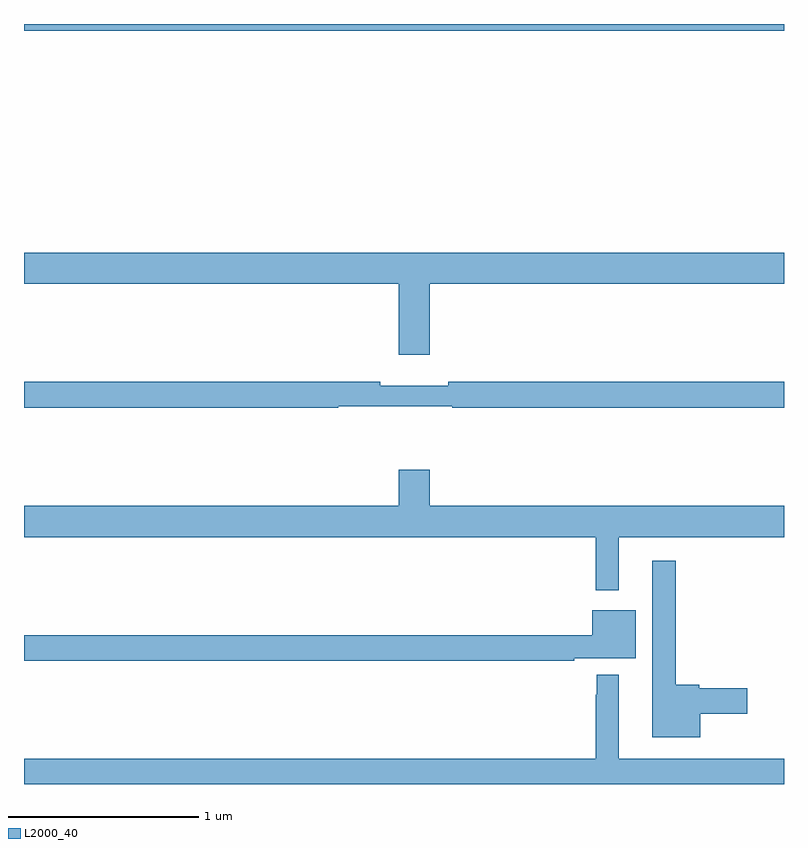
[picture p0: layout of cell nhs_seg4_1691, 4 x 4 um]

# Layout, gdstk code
import gdstk
lib = gdstk.Library(unit=1e-6, precision=1e-09)
def R(c, l, rs):  # rectangles x0, y0, x1, y1
    for r in rs: c.add(gdstk.rectangle(r[:2], r[2:], *l))
def P(c, l, *ps):  # polygons
    for p in ps: c.add(gdstk.Polygon(p, *l))
L2000_40 = (2000, 40)

nhs_seg4_1691 = lib.new_cell('nhs_seg4_1691')
R(nhs_seg4_1691, L2000_40, [(199,752.864,203,752.9)])
P(nhs_seg4_1691, L2000_40, [(201.136,751.532),(203,751.532),(203,751.696),(199,751.696),(199,751.532),(200.972,751.532),(200.972,751.158),(201.136,751.158)],
  [(200.655,750.888),(201.255,750.888),(201.255,750.88),(203,750.88),(203,751.016),(201.232,751.016),(201.232,750.997),(200.876,750.997),(200.876,751.016),(199,751.016),(199,750.88),(200.655,750.88)],
  [(202.129,750.2),(203,750.2),(203,750.364),(201.136,750.364),(201.136,750.553),(200.972,750.553),(200.972,750.364),(199,750.364),(199,750.2),(202.008,750.2),(202.008,749.919),(202.129,749.919)],
  [(202.558,749.27),(202.807,749.27),(202.807,749.405),(202.554,749.405),(202.554,749.423),(202.429,749.423),(202.429,750.076),(202.307,750.076),(202.307,749.147),(202.558,749.147)],
  [(201.896,749.561),(202.219,749.561),(202.219,749.815),(201.992,749.815),(201.992,749.684),(199,749.684),(199,749.548),(201.896,749.548)],
  [(203,749.032),(202.129,749.032),(202.129,749.476),(202.014,749.476),(202.014,749.369),(202.008,749.369),(202.008,749.032),(199,749.032),(199,748.9),(203,748.9)])

lib.write_gds('nhs_seg4_1691.gds')
